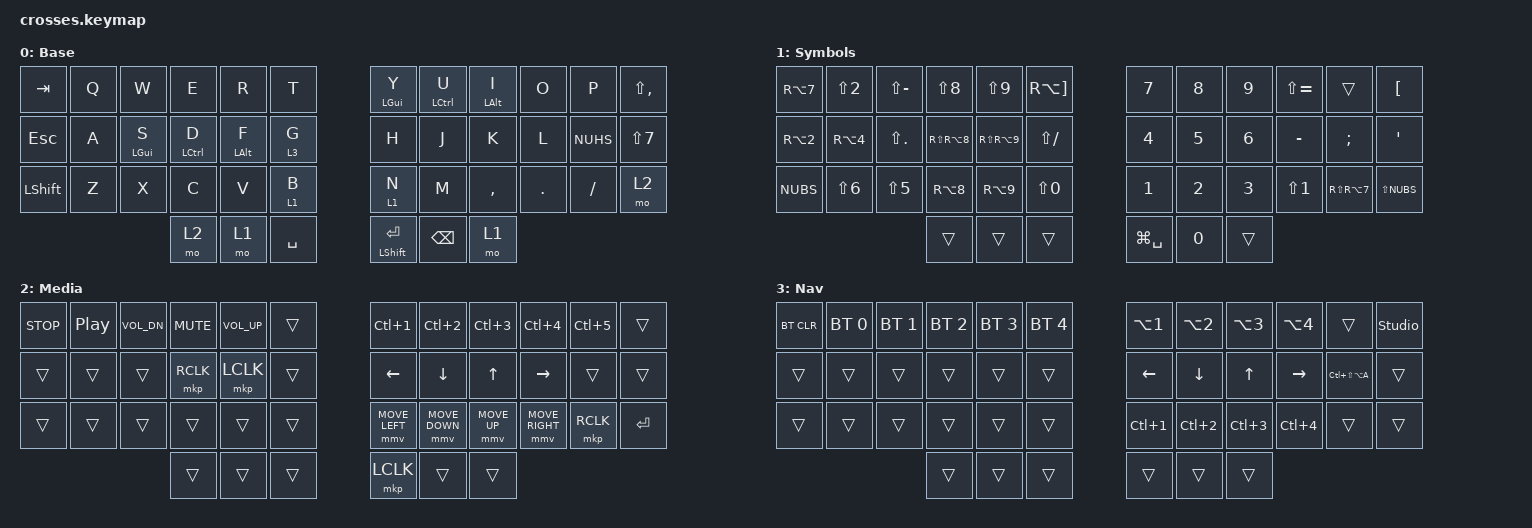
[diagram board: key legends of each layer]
#include <behaviors.dtsi>
#include <dt-bindings/zmk/bt.h>
#include <dt-bindings/zmk/keys.h>
#include <dt-bindings/zmk/pointing.h>

/ {
    chosen { zmk,physical-layout = &gggw_crosses_42_layout; };

    keymap {
        compatible = "zmk,keymap";
        default_layer {
            display-name = "Base";
            bindings = <
                &kp TAB    &kp Q          &kp W          &kp E          &kp R          &kp T        &mt LGUI Y   &mt LCTRL U &mt LALT I  &kp O       &kp P          &kp LS(COMMA)
                &kp ESC    &kp A          &mt LGUI S     &mt LCTRL D    &mt LALT F     &lt 3 G       &kp H        &kp J        &kp K        &kp L       &kp NUHS       &kp LS(N7)
                &kp LSHIFT &kp Z          &kp X          &kp C          &kp V          &lt 1 B       &lt 1 N       &kp M        &kp COMMA    &kp DOT     &kp FSLH       &mo 2
                                        &mo 2           &mo 1       &kp SPACE    &mt LSHIFT ENTER &kp BSPC  &mo 1
            >;
        };

        lower_layer {
            display-name = "Symbols";
            bindings = <
                &kp RA(N7) &kp LS(N2)   &kp LS(MINUS) &kp LS(N8)   &kp LS(N9)   &kp RA(RBKT)   &kp N7   &kp N8   &kp N9 &kp LS(EQUAL) &trans &kp LBKT
                &kp RA(N2) &kp RA(N4)   &kp LS(DOT)   &kp RS(RA(N8)) &kp RS(RA(N9)) &kp LS(FSLH) &kp N4   &kp N5   &kp N6 &kp MINUS     &kp SEMI &kp SQT
                &kp NUBS   &kp LS(N6)   &kp LS(N5)    &kp RA(N8)   &kp RA(N9)   &kp LS(N0)     &kp N1   &kp N2   &kp N3 &kp LS(N1)     &kp RS(RA(N7)) &kp LS(NUBS)
                                            &trans      &trans       &trans         &kp LG(SPACE)  &kp N0    &trans
            >;
        };

        raise_layer {
            display-name = "Media";
            bindings = <
                &kp C_STOP       &kp C_PP       &kp C_VOL_DN  &kp C_MUTE   &kp C_VOL_UP &trans          &kp LC(N1) &kp LC(N2) &kp LC(N3) &kp LC(N4) &kp LC(N5) &trans
                &trans           &trans         &trans        &mkp RCLK       &mkp LCLK       &trans          &kp LEFT   &kp DOWN   &kp UP     &kp RIGHT  &trans     &trans
                &trans           &trans         &trans        &trans       &trans       &trans        &mmv MOVE_LEFT &mmv MOVE_DOWN &mmv MOVE_UP &mmv MOVE_RIGHT &mkp RCLK &kp ENTER
                                              &trans         &trans         &trans         &mkp LCLK      &trans     &trans
            >;
        };

        mouse_layer {
            display-name = "Nav";
            bindings = <
                &bt BT_CLR &bt BT_SEL 0 &bt BT_SEL 1 &bt BT_SEL 2 &bt BT_SEL 3 &bt BT_SEL 4 &kp LA(N1) &kp LA(N2) &kp LA(N3) &kp LA(N4) &trans               &studio_unlock
                &trans     &trans       &trans       &trans       &trans       &trans       &kp LEFT   &kp DOWN   &kp UP     &kp RIGHT  &kp LC(LS(LA(A)))   &trans
                &trans   &trans   &trans     &trans       &trans       &trans       &kp LC(N1) &kp LC(N2) &kp LC(N3) &kp LC(N4) &trans               &trans
                              &trans     &trans       &trans       &trans      &trans     &trans
            >;
        };
    };
};

&mt {
    flavor = "tap-preferred";
    tapping-term-ms = <175>;
};

&lt {
    tapping-term-ms = <175>;
};
